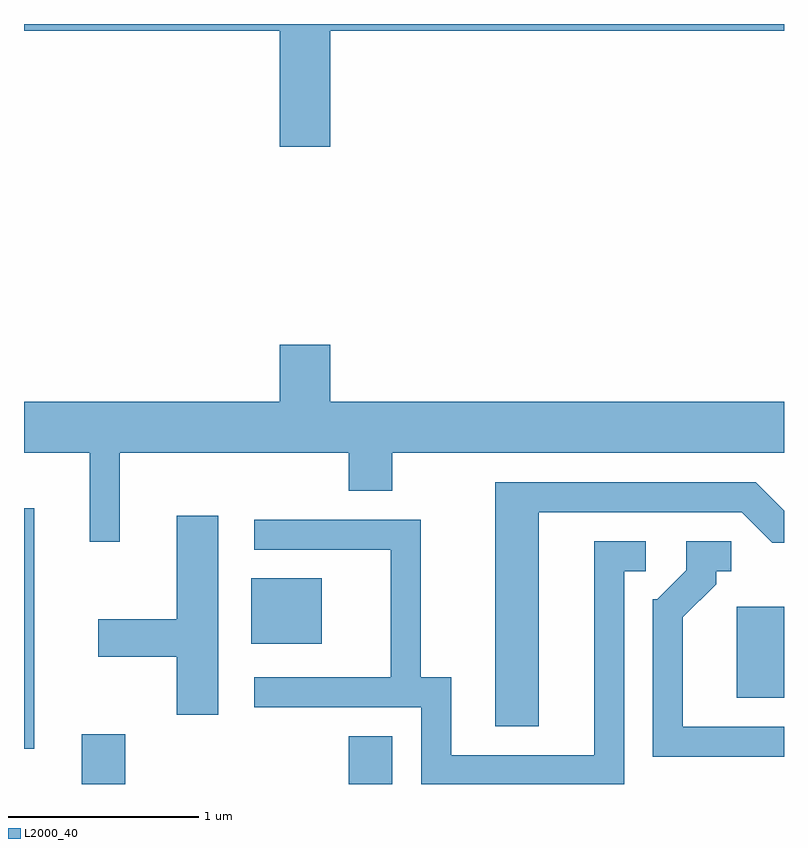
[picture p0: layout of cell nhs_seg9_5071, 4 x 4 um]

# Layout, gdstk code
import gdstk
lib = gdstk.Library(unit=1e-6, precision=1e-09)
def R(c, l, rs):  # rectangles x0, y0, x1, y1
    for r in rs: c.add(gdstk.rectangle(r[:2], r[2:], *l))
def P(c, l, *ps):  # polygons
    for p in ps: c.add(gdstk.Polygon(p, *l))
L2000_40 = (2000, 40)

nhs_seg9_5071 = lib.new_cell('nhs_seg9_5071')
R(nhs_seg9_5071, L2000_40, [(333.916,2074.432,334.144,2074.694), (335.321,2074.432,335.549,2074.684), (333.611,2074.617,333.664,2075.884), (337.361,2074.886,337.611,2075.364), (334.806,2075.171,335.179,2075.514)])
P(nhs_seg9_5071, L2000_40, [(335.224,2078.396),(337.611,2078.396),(337.611,2078.432),(333.611,2078.432),(333.611,2078.396),(334.956,2078.396),(334.956,2077.786),(335.224,2077.786)],
  [(334.114,2076.176),(335.321,2076.176),(335.321,2075.976),(335.549,2075.976),(335.549,2076.176),(337.611,2076.176),(337.611,2076.444),(335.224,2076.444),(335.224,2076.744),(334.956,2076.744),(334.956,2076.444),(333.611,2076.444),(333.611,2076.176),(333.956,2076.176),(333.956,2075.708),(334.114,2075.708)],
  [(336.319,2075.861),(337.389,2075.861),(337.549,2075.701),(337.611,2075.701),(337.611,2075.87),(337.462,2076.019),(336.091,2076.019),(336.091,2074.736),(336.319,2074.736)],
  [(334.634,2075.844),(334.416,2075.844),(334.416,2075.299),(334.001,2075.299),(334.001,2075.101),(334.416,2075.101),(334.416,2074.796),(334.634,2074.796)],
  [(336.769,2075.551),(336.883,2075.551),(336.883,2075.709),(336.611,2075.709),(336.611,2074.584),(335.859,2074.584),(335.859,2074.994),(335.699,2074.994),(335.699,2075.824),(334.823,2075.824),(334.823,2075.666),(335.541,2075.666),(335.541,2074.994),(334.823,2074.994),(334.823,2074.836),(335.701,2074.836),(335.701,2074.432),(336.769,2074.432)],
  [(337.611,2074.734),(337.079,2074.734),(337.079,2075.309),(337.254,2075.483),(337.254,2075.551),(337.333,2075.551),(337.333,2075.709),(337.096,2075.709),(337.096,2075.557),(336.944,2075.404),(336.921,2075.404),(336.921,2074.576),(337.611,2074.576)])

lib.write_gds('nhs_seg9_5071.gds')
